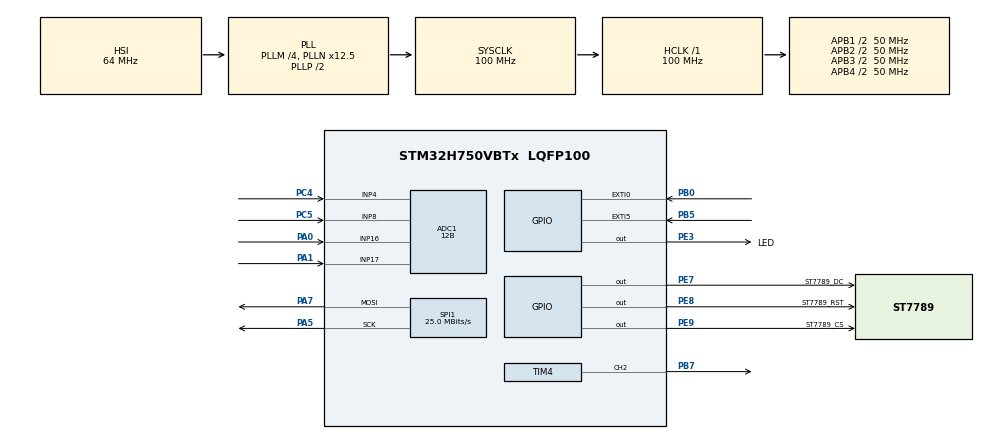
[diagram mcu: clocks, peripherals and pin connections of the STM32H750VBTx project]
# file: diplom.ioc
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ADC1.ClockPrescaler=ADC_CLOCK_ASYNC_DIV4
ADC1.ContinuousConvMode=DISABLE
ADC1.ConversionDataManagement=ADC_CONVERSIONDATA_DR
ADC1.EOCSelection=ADC_EOC_SINGLE_CONV
ADC1.EnableInjectedConversion=ENABLE
ADC1.EnableRegularConversion=DISABLE
ADC1.InjNumberOfConversion=4
ADC1.InjectedChannel-11\#ChannelInjectedConversion=ADC_CHANNEL_4
ADC1.InjectedChannel-12\#ChannelInjectedConversion=ADC_CHANNEL_8
ADC1.InjectedChannel-13\#ChannelInjectedConversion=ADC_CHANNEL_16
ADC1.InjectedChannel-14\#ChannelInjectedConversion=ADC_CHANNEL_17
ADC1.InjectedOffsetNumber-11\#ChannelInjectedConversion=ADC_OFFSET_NONE
ADC1.InjectedOffsetNumber-12\#ChannelInjectedConversion=ADC_OFFSET_NONE
ADC1.InjectedOffsetNumber-13\#ChannelInjectedConversion=ADC_OFFSET_NONE
ADC1.InjectedOffsetNumber-14\#ChannelInjectedConversion=ADC_OFFSET_NONE
ADC1.InjectedOffsetSaturation-11\#ChannelInjectedConversion=DISABLE
ADC1.InjectedOffsetSaturation-12\#ChannelInjectedConversion=DISABLE
ADC1.InjectedOffsetSaturation-13\#ChannelInjectedConversion=DISABLE
ADC1.InjectedOffsetSaturation-14\#ChannelInjectedConversion=DISABLE
ADC1.InjectedRank-11\#ChannelInjectedConversion=1
ADC1.InjectedRank-12\#ChannelInjectedConversion=2
ADC1.InjectedRank-13\#ChannelInjectedConversion=3
ADC1.InjectedRank-14\#ChannelInjectedConversion=4
ADC1.InjectedSamplingTime-11\#ChannelInjectedConversion=ADC_SAMPLETIME_8CYCLES_5
ADC1.InjectedSamplingTime-12\#ChannelInjectedConversion=ADC_SAMPLETIME_8CYCLES_5
ADC1.InjectedSamplingTime-13\#ChannelInjectedConversion=ADC_SAMPLETIME_8CYCLES_5
ADC1.InjectedSamplingTime-14\#ChannelInjectedConversion=ADC_SAMPLETIME_8CYCLES_5
ADC1.Resolution=ADC_RESOLUTION_12B
ADC1.master=1
Dma.Request0=SPI1_TX
Dma.SPI1_TX.0.Direction=DMA_MEMORY_TO_PERIPH
Dma.SPI1_TX.0.EventEnable=DISABLE
Dma.SPI1_TX.0.FIFOMode=DMA_FIFOMODE_DISABLE
Dma.SPI1_TX.0.Instance=DMA1_Stream0
Dma.SPI1_TX.0.MemDataAlignment=DMA_MDATAALIGN_BYTE
Dma.SPI1_TX.0.MemInc=DMA_MINC_ENABLE
Dma.SPI1_TX.0.Mode=DMA_NORMAL
Dma.SPI1_TX.0.PeriphDataAlignment=DMA_PDATAALIGN_BYTE
Dma.SPI1_TX.0.PeriphInc=DMA_PINC_DISABLE
Dma.SPI1_TX.0.Polarity=HAL_DMAMUX_REQ_GEN_RISING
Dma.SPI1_TX.0.Priority=DMA_PRIORITY_VERY_HIGH
Dma.SPI1_TX.0.RequestNumber=1
Dma.SPI1_TX.0.SignalID=NONE
Dma.SPI1_TX.0.SyncEnable=DISABLE
Dma.SPI1_TX.0.SyncPolarity=HAL_DMAMUX_SYNC_NO_EVENT
Dma.SPI1_TX.0.SyncRequestNumber=1
Dma.SPI1_TX.0.SyncSignalID=NONE
Mcu.Family=STM32H7
Mcu.Name=STM32H750VBTx
Mcu.Package=LQFP100
NVIC.ADC_IRQn=true\:0\:0\:false\:false\:true\:true\:true\:true
NVIC.DMA1_Stream0_IRQn=true\:0\:0\:false\:false\:true\:false\:true\:true
NVIC.EXTI0_IRQn=true\:0\:0\:false\:false\:true\:true\:true\:true
NVIC.EXTI9_5_IRQn=true\:0\:0\:false\:false\:true\:true\:true\:true
NVIC.PriorityGroup=NVIC_PRIORITYGROUP_4
NVIC.SPI1_IRQn=true\:0\:0\:false\:false\:true\:false\:true\:true
NVIC.TIM2_IRQn=true\:0\:0\:false\:false\:true\:true\:true\:true
NVIC.TIM3_IRQn=true\:0\:0\:false\:false\:true\:true\:true\:true
NVIC.TIM4_IRQn=true\:0\:0\:false\:false\:true\:true\:true\:true
PA0.Mode=IN16-Single-Ended
PA0.Signal=ADC1_INP16
PA1.Mode=IN17-Single-Ended
PA1.Signal=ADC1_INP17
PA5.Mode=TX_Only_Simplex_Unidirect_Master
PA5.Signal=SPI1_SCK
PA7.Mode=TX_Only_Simplex_Unidirect_Master
PA7.Signal=SPI1_MOSI
PB0.GPIO_ModeDefaultEXTI=GPIO_MODE_IT_FALLING
PB0.GPIO_PuPd=GPIO_PULLUP
PB0.Signal=GPXTI0
PB5.Signal=GPXTI5
PB7.Signal=S_TIM4_CH2
PC14-OSC32_IN\ (OSC32_IN).Mode=LSE-External-Clock-Source
PC14-OSC32_IN\ (OSC32_IN).Signal=RCC_OSC32_IN
PC4.Signal=ADCx_INP4
PC5.Signal=ADCx_INP8
PE3.GPIO_Label=LED
PE3.Signal=GPIO_Output
PE7.GPIO_Label=ST7789_DC
PE7.Signal=GPIO_Output
PE8.GPIO_Label=ST7789_RST
PE8.Signal=GPIO_Output
PE9.GPIO_Label=ST7789_CS
PE9.Signal=GPIO_Output
PH0-OSC_IN\ (PH0).Mode=HSE-External-Clock-Source
PH0-OSC_IN\ (PH0).Signal=RCC_OSC_IN
ProjectManager.HeapSize=0x200
ProjectManager.StackSize=0x400
ProjectManager.TargetToolchain=STM32CubeIDE
RCC.ADCCLockSelection=RCC_ADCCLKSOURCE_PLL3
RCC.ADCFreq_Value=37500000
RCC.APB1Freq_Value=50000000
RCC.APB2Freq_Value=50000000
RCC.APB3Freq_Value=50000000
RCC.APB4Freq_Value=50000000
RCC.CortexFreq_Value=100000000
RCC.D1PPRE=RCC_APB3_DIV2
RCC.D2PPRE1=RCC_APB1_DIV2
RCC.D2PPRE2=RCC_APB2_DIV2
RCC.D3PPRE=RCC_APB4_DIV2
RCC.DIVM1=4
RCC.DIVM2=4
RCC.DIVM3=4
RCC.DIVN1=12
RCC.DIVN2=9
RCC.DIVN3=9
RCC.DIVP2=8
RCC.DIVP3=1
RCC.DIVR3=4
RCC.FLatency=FLASH_LATENCY_2
RCC.HCLKFreq_Value=100000000
RCC.PLL2FRACN=3072
RCC.PLL3FRACN=3072
RCC.PLLFRACN=4096
RCC.SYSCLKFreq_VALUE=100000000
RCC.SYSCLKSource=RCC_SYSCLKSOURCE_PLLCLK
RCC.USBFreq_Value=100000000
SH.ADCx_INP4.0=ADC1_INP4,IN4-Single-Ended
SH.ADCx_INP8.0=ADC1_INP8,IN8-Single-Ended
SH.S_TIM4_CH2.0=TIM4_CH2,PWM Generation2 CH2
SPI1.BaudRatePrescaler=SPI_BAUDRATEPRESCALER_4
SPI1.CLKPolarity=SPI_POLARITY_HIGH
SPI1.CalculateBaudRate=25.0 MBits/s
SPI1.DataSize=SPI_DATASIZE_8BIT
SPI1.Direction=SPI_DIRECTION_2LINES_TXONLY
SPI1.Mode=SPI_MODE_MASTER
SPI1.VirtualType=VM_MASTER
TIM2.Period=2000-1
TIM2.Prescaler=15000-1
TIM3.Period=100-1
TIM3.Prescaler=15000-1
TIM4.Channel-PWM\ Generation2\ CH2=TIM_CHANNEL_2
TIM4.Period=499
TIM4.Prescaler=1499
TIM4.Pulse-PWM\ Generation2\ CH2=250
VP_TIM2_VS_ClockSourceINT.Mode=Internal
VP_TIM3_VS_ClockSourceINT.Mode=Internal
VP_TIM4_VS_ClockSourceINT.Mode=Internal
board=custom

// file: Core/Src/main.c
/* USER CODE BEGIN Header */
/**
  ******************************************************************************
  * @file           : main.c
  * @brief          : Main program body
  ******************************************************************************
  * @attention
  *
  * Copyright (c) 2022 STMicroelectronics.
  * All rights reserved.
  *
  * This software is licensed under terms that can be found in the LICENSE file
  * in the root directory of this software component.
  * If no LICENSE file comes with this software, it is provided AS-IS.
  *
  ******************************************************************************
  */
/* USER CODE END Header */
#include "main.h"

/* USER CODE BEGIN Includes */
#include "st7789.h"
#include "snake.h"
/* USER CODE END Includes */

/* USER CODE BEGIN PM */
volatile uint16_t adc[4];
uint8_t adc_count = 0;
uint8_t adc_conv_complited = 1;
uint16_t timer = 0;
/* USER CODE END PM */

ADC_HandleTypeDef hadc1;

SPI_HandleTypeDef hspi1;
DMA_HandleTypeDef hdma_spi1_tx;

TIM_HandleTypeDef htim2;
TIM_HandleTypeDef htim3;
TIM_HandleTypeDef htim4;

void SystemClock_Config(void);
static void MX_GPIO_Init(void);
static void MX_DMA_Init(void);
static void MX_SPI1_Init(void);
static void MX_TIM2_Init(void);
static void MX_TIM3_Init(void);
static void MX_ADC1_Init(void);
static void MX_TIM4_Init(void);

/* USER CODE BEGIN 0 */
void HAL_GPIO_EXTI_Callback(uint16_t GPIO_Pin)

{

  if(GPIO_Pin== GPIO_PIN_0) {
	  HAL_TIM_PWM_Start(&htim4, TIM_CHANNEL_2);
	  //HAL_GPIO_TogglePin(LED_GPIO_Port, LED_Pin);

  } else if(GPIO_Pin== GPIO_PIN_5){
	  HAL_TIM_PWM_Stop(&htim4, TIM_CHANNEL_2);
	  //HAL_GPIO_TogglePin(LED_GPIO_Port, LED_Pin);
  }

}
void HAL_TIM_PeriodElapsedCallback(TIM_HandleTypeDef *htim){
	if(htim->Instance == TIM2){
			timFlag = 1;
	}
	if(htim->Instance == TIM3){
		//HAL_GPIO_TogglePin(LED_GPIO_Port, LED_Pin);
		timer += 1;
	}
}
void HAL_ADCEx_InjectedConvCpltCallback(ADC_HandleTypeDef* hadc)
{
    if(hadc->Instance == ADC1)
    {
    	adc[0] =  HAL_ADCEx_InjectedGetValue(&hadc1, ADC_INJECTED_RANK_1);
    	adc[1] =  HAL_ADCEx_InjectedGetValue(&hadc1, ADC_INJECTED_RANK_2);
    	adc[2] =  HAL_ADCEx_InjectedGetValue(&hadc1, ADC_INJECTED_RANK_3);
    	adc[3] =  HAL_ADCEx_InjectedGetValue(&hadc1, ADC_INJECTED_RANK_4);

    	adc_conv_complited = 1;
    }
}

/* USER CODE END 0 */

int main(void)
{

  /* MCU Configuration--------------------------------------------------------*/

  /* Reset of all peripherals, Initializes the Flash interface and the Systick. */
  HAL_Init();

  /* Configure the system clock */
  SystemClock_Config();

  /* Initialize all configured peripherals */
  MX_GPIO_Init();
  MX_DMA_Init();
  MX_SPI1_Init();
  MX_TIM2_Init();
  MX_TIM3_Init();
  MX_ADC1_Init();
  MX_TIM4_Init();
  /* USER CODE BEGIN 2 */
  ST7789_Init();
  HAL_Delay(50);
  HAL_TIM_Base_Start_IT(&htim4);

  HAL_ADCEx_Calibration_Start(&hadc1, ADC_CALIB_OFFSET|ADC_CALIB_OFFSET_LINEARITY, ADC_SINGLE_ENDED);

  ST7789_InvertColors(0);

  //ST7789_Test();
  //ST7789_Fill_Color(GREEN);

  myfunc_test();
  myfunc_init();
  myfunc_SetAddressWindow(0, 0, 239, 319);
  myfunc_DrawFilledRectangle(0, 0, 240, 320, GREEN);
  myfunc_UpdateFrame();
  HAL_Delay(1000);
  SnakeMain();
  /* USER CODE END 2 */

  /* Infinite loop */
  while (1)
  {

  }
}

void SystemClock_Config(void)
{
  RCC_OscInitTypeDef RCC_OscInitStruct = {0};
  RCC_ClkInitTypeDef RCC_ClkInitStruct = {0};

  /** Supply configuration update enable
  */
  HAL_PWREx_ConfigSupply(PWR_LDO_SUPPLY);

  /** Configure the main internal regulator output voltage
  */
  __HAL_PWR_VOLTAGESCALING_CONFIG(PWR_REGULATOR_VOLTAGE_SCALE3);

  while(!__HAL_PWR_GET_FLAG(PWR_FLAG_VOSRDY)) {}

  /** Macro to configure the PLL clock source
  */
  __HAL_RCC_PLL_PLLSOURCE_CONFIG(RCC_PLLSOURCE_HSI);

  /** Initializes the RCC Oscillators according to the specified parameters
  * in the RCC_OscInitTypeDef structure.
  */
  RCC_OscInitStruct.OscillatorType = RCC_OSCILLATORTYPE_HSI;
  RCC_OscInitStruct.HSIState = RCC_HSI_DIV1;
  RCC_OscInitStruct.HSICalibrationValue = RCC_HSICALIBRATION_DEFAULT;
  RCC_OscInitStruct.PLL.PLLState = RCC_PLL_ON;
  RCC_OscInitStruct.PLL.PLLSource = RCC_PLLSOURCE_HSI;
  RCC_OscInitStruct.PLL.PLLM = 4;
  RCC_OscInitStruct.PLL.PLLN = 12;
  RCC_OscInitStruct.PLL.PLLP = 2;
  RCC_OscInitStruct.PLL.PLLQ = 2;
  RCC_OscInitStruct.PLL.PLLR = 2;
  RCC_OscInitStruct.PLL.PLLRGE = RCC_PLL1VCIRANGE_3;
  RCC_OscInitStruct.PLL.PLLVCOSEL = RCC_PLL1VCOWIDE;
  RCC_OscInitStruct.PLL.PLLFRACN = 4096;
  if (HAL_RCC_OscConfig(&RCC_OscInitStruct) != HAL_OK)
  {
    Error_Handler();
  }

  /** Initializes the CPU, AHB and APB buses clocks
  */
  RCC_ClkInitStruct.ClockType = RCC_CLOCKTYPE_HCLK|RCC_CLOCKTYPE_SYSCLK
                              |RCC_CLOCKTYPE_PCLK1|RCC_CLOCKTYPE_PCLK2
                              |RCC_CLOCKTYPE_D3PCLK1|RCC_CLOCKTYPE_D1PCLK1;
  RCC_ClkInitStruct.SYSCLKSource = RCC_SYSCLKSOURCE_PLLCLK;
  RCC_ClkInitStruct.SYSCLKDivider = RCC_SYSCLK_DIV1;
  RCC_ClkInitStruct.AHBCLKDivider = RCC_HCLK_DIV1;
  RCC_ClkInitStruct.APB3CLKDivider = RCC_APB3_DIV2;
  RCC_ClkInitStruct.APB1CLKDivider = RCC_APB1_DIV2;
  RCC_ClkInitStruct.APB2CLKDivider = RCC_APB2_DIV2;
  RCC_ClkInitStruct.APB4CLKDivider = RCC_APB4_DIV2;

  if (HAL_RCC_ClockConfig(&RCC_ClkInitStruct, FLASH_LATENCY_2) != HAL_OK)
  {
    Error_Handler();
  }
}

static void MX_ADC1_Init(void)
{

  ADC_MultiModeTypeDef multimode = {0};
  ADC_InjectionConfTypeDef sConfigInjected = {0};

  /** Common config
  */
  hadc1.Instance = ADC1;
  hadc1.Init.ClockPrescaler = ADC_CLOCK_ASYNC_DIV4;
  hadc1.Init.Resolution = ADC_RESOLUTION_12B;
  hadc1.Init.ScanConvMode = ADC_SCAN_ENABLE;
  hadc1.Init.EOCSelection = ADC_EOC_SINGLE_CONV;
  hadc1.Init.LowPowerAutoWait = DISABLE;
  hadc1.Init.ContinuousConvMode = DISABLE;
  hadc1.Init.NbrOfConversion = 1;
  hadc1.Init.DiscontinuousConvMode = DISABLE;
  hadc1.Init.ConversionDataManagement = ADC_CONVERSIONDATA_DR;
  hadc1.Init.Overrun = ADC_OVR_DATA_PRESERVED;
  hadc1.Init.LeftBitShift = ADC_LEFTBITSHIFT_NONE;
  hadc1.Init.OversamplingMode = DISABLE;
  if (HAL_ADC_Init(&hadc1) != HAL_OK)
  {
    Error_Handler();
  }

  /** Configure the ADC multi-mode
  */
  multimode.Mode = ADC_MODE_INDEPENDENT;
  if (HAL_ADCEx_MultiModeConfigChannel(&hadc1, &multimode) != HAL_OK)
  {
    Error_Handler();
  }

  /** Disable Injected Queue
  */
  HAL_ADCEx_DisableInjectedQueue(&hadc1);

  /** Configure Injected Channel
  */
  sConfigInjected.InjectedChannel = ADC_CHANNEL_4;
  sConfigInjected.InjectedRank = ADC_INJECTED_RANK_1;
  sConfigInjected.InjectedSamplingTime = ADC_SAMPLETIME_8CYCLES_5;
  sConfigInjected.InjectedSingleDiff = ADC_SINGLE_ENDED;
  sConfigInjected.InjectedOffsetNumber = ADC_OFFSET_NONE;
  sConfigInjected.InjectedOffset = 0;
  sConfigInjected.InjectedNbrOfConversion = 4;
  sConfigInjected.InjectedDiscontinuousConvMode = DISABLE;
  sConfigInjected.AutoInjectedConv = DISABLE;
  sConfigInjected.QueueInjectedContext = DISABLE;
  sConfigInjected.ExternalTrigInjecConv = ADC_INJECTED_SOFTWARE_START;
  sConfigInjected.ExternalTrigInjecConvEdge = ADC_EXTERNALTRIGINJECCONV_EDGE_NONE;
  sConfigInjected.InjecOversamplingMode = DISABLE;
  if (HAL_ADCEx_InjectedConfigChannel(&hadc1, &sConfigInjected) != HAL_OK)
  {
    Error_Handler();
  }

  /** Configure Injected Channel
  */
  sConfigInjected.InjectedChannel = ADC_CHANNEL_8;
  sConfigInjected.InjectedRank = ADC_INJECTED_RANK_2;
  if (HAL_ADCEx_InjectedConfigChannel(&hadc1, &sConfigInjected) != HAL_OK)
  {
    Error_Handler();
  }

  /** Configure Injected Channel
  */
  sConfigInjected.InjectedChannel = ADC_CHANNEL_16;
  sConfigInjected.InjectedRank = ADC_INJECTED_RANK_3;
  if (HAL_ADCEx_InjectedConfigChannel(&hadc1, &sConfigInjected) != HAL_OK)
  {
    Error_Handler();
  }

  /** Configure Injected Channel
  */
  sConfigInjected.InjectedChannel = ADC_CHANNEL_17;
  sConfigInjected.InjectedRank = ADC_INJECTED_RANK_4;
  if (HAL_ADCEx_InjectedConfigChannel(&hadc1, &sConfigInjected) != HAL_OK)
  {
    Error_Handler();
  }

}

static void MX_SPI1_Init(void)
{

  /* SPI1 parameter configuration*/
  hspi1.Instance = SPI1;
  hspi1.Init.Mode = SPI_MODE_MASTER;
  hspi1.Init.Direction = SPI_DIRECTION_2LINES_TXONLY;
  hspi1.Init.DataSize = SPI_DATASIZE_8BIT;
  hspi1.Init.CLKPolarity = SPI_POLARITY_HIGH;
  hspi1.Init.CLKPhase = SPI_PHASE_1EDGE;
  hspi1.Init.NSS = SPI_NSS_SOFT;
  hspi1.Init.BaudRatePrescaler = SPI_BAUDRATEPRESCALER_4;
  hspi1.Init.FirstBit = SPI_FIRSTBIT_MSB;
  hspi1.Init.TIMode = SPI_TIMODE_DISABLE;
  hspi1.Init.CRCCalculation = SPI_CRCCALCULATION_DISABLE;
  hspi1.Init.CRCPolynomial = 0x0;
  hspi1.Init.NSSPMode = SPI_NSS_PULSE_ENABLE;
  hspi1.Init.NSSPolarity = SPI_NSS_POLARITY_LOW;
  hspi1.Init.FifoThreshold = SPI_FIFO_THRESHOLD_01DATA;
  hspi1.Init.TxCRCInitializationPattern = SPI_CRC_INITIALIZATION_ALL_ZERO_PATTERN;
  hspi1.Init.RxCRCInitializationPattern = SPI_CRC_INITIALIZATION_ALL_ZERO_PATTERN;
  hspi1.Init.MasterSSIdleness = SPI_MASTER_SS_IDLENESS_00CYCLE;
  hspi1.Init.MasterInterDataIdleness = SPI_MASTER_INTERDATA_IDLENESS_00CYCLE;
  hspi1.Init.MasterReceiverAutoSusp = SPI_MASTER_RX_AUTOSUSP_DISABLE;
  hspi1.Init.MasterKeepIOState = SPI_MASTER_KEEP_IO_STATE_DISABLE;
  hspi1.Init.IOSwap = SPI_IO_SWAP_DISABLE;
  if (HAL_SPI_Init(&hspi1) != HAL_OK)
  {
    Error_Handler();
  }

}

static void MX_TIM2_Init(void)
{

  TIM_ClockConfigTypeDef sClockSourceConfig = {0};
  TIM_MasterConfigTypeDef sMasterConfig = {0};

  htim2.Instance = TIM2;
  htim2.Init.Prescaler = 15000-1;
  htim2.Init.CounterMode = TIM_COUNTERMODE_UP;
  htim2.Init.Period = 2000-1;
  htim2.Init.ClockDivision = TIM_CLOCKDIVISION_DIV1;
  htim2.Init.AutoReloadPreload = TIM_AUTORELOAD_PRELOAD_DISABLE;
  if (HAL_TIM_Base_Init(&htim2) != HAL_OK)
  {
    Error_Handler();
  }
  sClockSourceConfig.ClockSource = TIM_CLOCKSOURCE_INTERNAL;
  if (HAL_TIM_ConfigClockSource(&htim2, &sClockSourceConfig) != HAL_OK)
  {
    Error_Handler();
  }
  sMasterConfig.MasterOutputTrigger = TIM_TRGO_RESET;
  sMasterConfig.MasterSlaveMode = TIM_MASTERSLAVEMODE_DISABLE;
  if (HAL_TIMEx_MasterConfigSynchronization(&htim2, &sMasterConfig) != HAL_OK)
  {
    Error_Handler();
  }

}

static void MX_TIM3_Init(void)
{

  TIM_ClockConfigTypeDef sClockSourceConfig = {0};
  TIM_MasterConfigTypeDef sMasterConfig = {0};

  htim3.Instance = TIM3;
  htim3.Init.Prescaler = 15000-1;
  htim3.Init.CounterMode = TIM_COUNTERMODE_UP;
  htim3.Init.Period = 100-1;
  htim3.Init.ClockDivision = TIM_CLOCKDIVISION_DIV1;
  htim3.Init.AutoReloadPreload = TIM_AUTORELOAD_PRELOAD_DISABLE;
  if (HAL_TIM_Base_Init(&htim3) != HAL_OK)
  {
    Error_Handler();
  }
  sClockSourceConfig.ClockSource = TIM_CLOCKSOURCE_INTERNAL;
  if (HAL_TIM_ConfigClockSource(&htim3, &sClockSourceConfig) != HAL_OK)
  {
    Error_Handler();
  }
  sMasterConfig.MasterOutputTrigger = TIM_TRGO_RESET;
  sMasterConfig.MasterSlaveMode = TIM_MASTERSLAVEMODE_DISABLE;
  if (HAL_TIMEx_MasterConfigSynchronization(&htim3, &sMasterConfig) != HAL_OK)
  {
    Error_Handler();
  }

}

static void MX_TIM4_Init(void)
{

  TIM_ClockConfigTypeDef sClockSourceConfig = {0};
  TIM_MasterConfigTypeDef sMasterConfig = {0};
  TIM_OC_InitTypeDef sConfigOC = {0};

  htim4.Instance = TIM4;
  htim4.Init.Prescaler = 1499;
  htim4.Init.CounterMode = TIM_COUNTERMODE_UP;
  htim4.Init.Period = 499;
  htim4.Init.ClockDivision = TIM_CLOCKDIVISION_DIV1;
  htim4.Init.AutoReloadPreload = TIM_AUTORELOAD_PRELOAD_DISABLE;
  if (HAL_TIM_Base_Init(&htim4) != HAL_OK)
  {
    Error_Handler();
  }
  sClockSourceConfig.ClockSource = TIM_CLOCKSOURCE_INTERNAL;
  if (HAL_TIM_ConfigClockSource(&htim4, &sClockSourceConfig) != HAL_OK)
  {
    Error_Handler();
  }
  if (HAL_TIM_PWM_Init(&htim4) != HAL_OK)
  {
    Error_Handler();
  }
  sMasterConfig.MasterOutputTrigger = TIM_TRGO_RESET;
  sMasterConfig.MasterSlaveMode = TIM_MASTERSLAVEMODE_DISABLE;
  if (HAL_TIMEx_MasterConfigSynchronization(&htim4, &sMasterConfig) != HAL_OK)
  {
    Error_Handler();
  }
  sConfigOC.OCMode = TIM_OCMODE_PWM1;
  sConfigOC.Pulse = 250;
  sConfigOC.OCPolarity = TIM_OCPOLARITY_HIGH;
  sConfigOC.OCFastMode = TIM_OCFAST_DISABLE;
  if (HAL_TIM_PWM_ConfigChannel(&htim4, &sConfigOC, TIM_CHANNEL_2) != HAL_OK)
  {
    Error_Handler();
  }
  HAL_TIM_MspPostInit(&htim4);

}

static void MX_DMA_Init(void)
{

  /* DMA controller clock enable */
  __HAL_RCC_DMA1_CLK_ENABLE();

  /* DMA interrupt init */
  /* DMA1_Stream0_IRQn interrupt configuration */
  HAL_NVIC_SetPriority(DMA1_Stream0_IRQn, 0, 0);
  HAL_NVIC_EnableIRQ(DMA1_Stream0_IRQn);

}

static void MX_GPIO_Init(void)
{
  GPIO_InitTypeDef GPIO_InitStruct = {0};

  /* GPIO Ports Clock Enable */
  __HAL_RCC_GPIOE_CLK_ENABLE();
  __HAL_RCC_GPIOC_CLK_ENABLE();
  __HAL_RCC_GPIOH_CLK_ENABLE();
  __HAL_RCC_GPIOA_CLK_ENABLE();
  __HAL_RCC_GPIOB_CLK_ENABLE();

  /*Configure GPIO pin Output Level */
  HAL_GPIO_WritePin(GPIOE, LED_Pin|ST7789_DC_Pin|ST7789_RST_Pin|ST7789_CS_Pin, GPIO_PIN_RESET);

  /*Configure GPIO pins : LED_Pin ST7789_DC_Pin ST7789_RST_Pin ST7789_CS_Pin */
  GPIO_InitStruct.Pin = LED_Pin|ST7789_DC_Pin|ST7789_RST_Pin|ST7789_CS_Pin;
  GPIO_InitStruct.Mode = GPIO_MODE_OUTPUT_PP;
  GPIO_InitStruct.Pull = GPIO_NOPULL;
  GPIO_InitStruct.Speed = GPIO_SPEED_FREQ_LOW;
  HAL_GPIO_Init(GPIOE, &GPIO_InitStruct);

  /*Configure GPIO pin : PB0 */
  GPIO_InitStruct.Pin = GPIO_PIN_0;
  GPIO_InitStruct.Mode = GPIO_MODE_IT_FALLING;
  GPIO_InitStruct.Pull = GPIO_PULLUP;
  HAL_GPIO_Init(GPIOB, &GPIO_InitStruct);

  /*Configure GPIO pin : PB5 */
  GPIO_InitStruct.Pin = GPIO_PIN_5;
  GPIO_InitStruct.Mode = GPIO_MODE_IT_RISING;
  GPIO_InitStruct.Pull = GPIO_NOPULL;
  HAL_GPIO_Init(GPIOB, &GPIO_InitStruct);

  /* EXTI interrupt init*/
  HAL_NVIC_SetPriority(EXTI0_IRQn, 0, 0);
  HAL_NVIC_EnableIRQ(EXTI0_IRQn);

  HAL_NVIC_SetPriority(EXTI9_5_IRQn, 0, 0);
  HAL_NVIC_EnableIRQ(EXTI9_5_IRQn);

}

void Error_Handler(void)
{
  __disable_irq();
  while (1)
  {
  }
}
